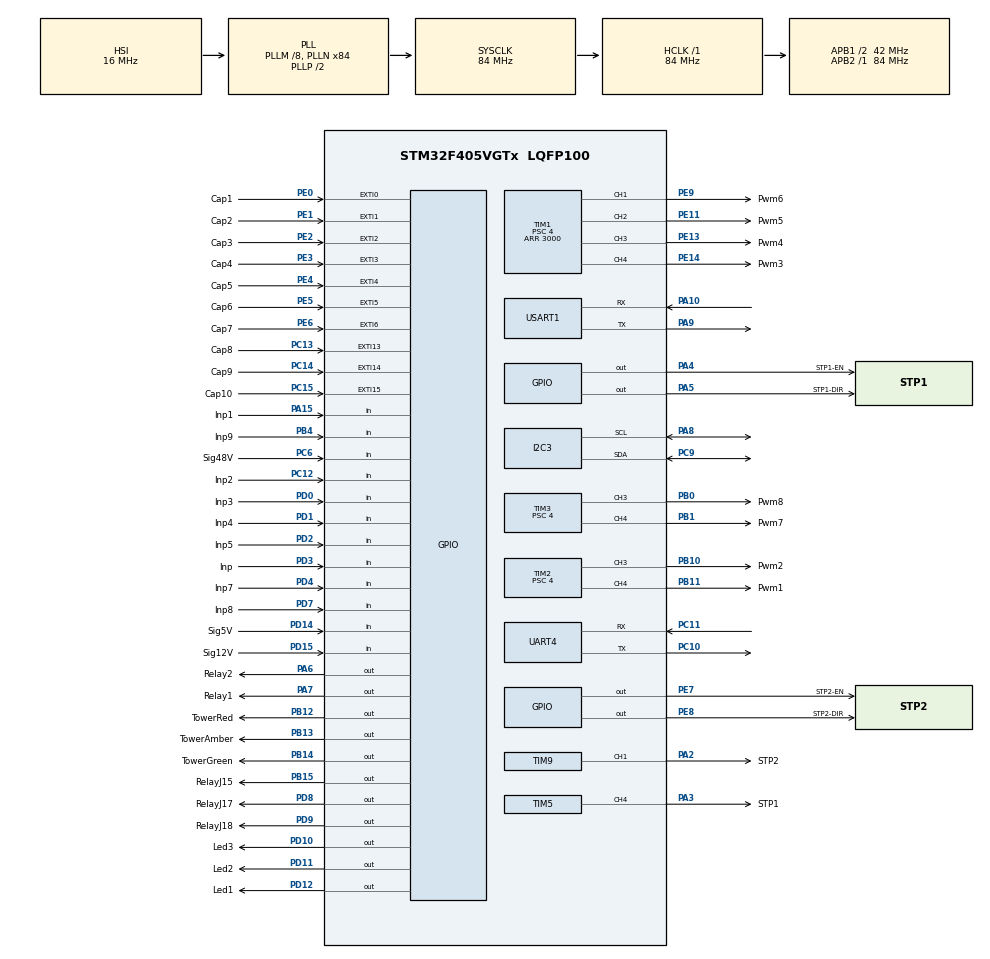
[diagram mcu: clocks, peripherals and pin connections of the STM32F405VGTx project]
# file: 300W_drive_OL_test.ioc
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Mcu.Family=STM32F4
Mcu.Name=STM32F405VGTx
Mcu.Package=LQFP100
NVIC.EXTI0_IRQn=true\:0\:0\:false\:false\:true\:true\:true\:true
NVIC.EXTI15_10_IRQn=true\:0\:0\:false\:false\:true\:true\:true\:true
NVIC.EXTI1_IRQn=true\:0\:0\:false\:false\:true\:true\:true\:true
NVIC.EXTI2_IRQn=true\:0\:0\:false\:false\:true\:true\:true\:true
NVIC.EXTI3_IRQn=true\:0\:0\:false\:false\:true\:true\:true\:true
NVIC.EXTI4_IRQn=true\:0\:0\:false\:false\:true\:true\:true\:true
NVIC.EXTI9_5_IRQn=true\:0\:0\:false\:false\:true\:true\:true\:true
NVIC.PriorityGroup=NVIC_PRIORITYGROUP_4
NVIC.TIM1_BRK_TIM9_IRQn=true\:0\:0\:false\:false\:true\:true\:true\:true
NVIC.TIM1_UP_TIM10_IRQn=true\:0\:0\:false\:false\:true\:true\:true\:true
NVIC.TIM5_IRQn=true\:0\:0\:false\:false\:true\:true\:true\:true
NVIC.TIM6_DAC_IRQn=true\:0\:0\:false\:false\:true\:true\:true\:true
NVIC.TIM7_IRQn=true\:0\:0\:false\:false\:true\:true\:true\:true
NVIC.UART4_IRQn=true\:0\:0\:false\:false\:true\:true\:true\:true
NVIC.USART1_IRQn=true\:0\:0\:false\:false\:true\:true\:true\:true
PA10.Mode=Asynchronous
PA10.Signal=USART1_RX
PA15.GPIO_Label=Inp1
PA15.Signal=GPIO_Input
PA2.GPIO_Label=STP2
PA2.Signal=S_TIM9_CH1
PA3.GPIO_Label=STP1
PA3.Signal=S_TIM5_CH4
PA4.GPIO_Label=STP1-EN
PA4.Signal=GPIO_Output
PA5.GPIO_Label=STP1-DIR
PA5.Signal=GPIO_Output
PA6.GPIO_Label=Relay2
PA6.Signal=GPIO_Output
PA7.GPIO_Label=Relay1
PA7.Signal=GPIO_Output
PA8.GPIO_Pu=GPIO_PULLUP
PA8.Mode=I2C
PA8.Signal=I2C3_SCL
PA9.Mode=Asynchronous
PA9.Signal=USART1_TX
PB0.GPIO_Label=Pwm8
PB0.Signal=S_TIM3_CH3
PB1.GPIO_Label=Pwm7
PB1.Signal=S_TIM3_CH4
PB10.GPIO_Label=Pwm2
PB10.Signal=S_TIM2_CH3
PB11.GPIO_Label=Pwm1
PB11.Signal=S_TIM2_CH4
PB12.GPIO_Label=TowerRed
PB12.Signal=GPIO_Output
PB13.GPIO_Label=TowerAmber
PB13.Signal=GPIO_Output
PB14.GPIO_Label=TowerGreen
PB14.Signal=GPIO_Output
PB15.GPIO_Label=RelayJ15
PB15.Signal=GPIO_Output
PB4.GPIO_Label=Inp9
PB4.Signal=GPIO_Input
PC10.Mode=Asynchronous
PC10.Signal=UART4_TX
PC11.Mode=Asynchronous
PC11.Signal=UART4_RX
PC12.GPIO_Label=Inp2
PC12.Signal=GPIO_Input
PC13-ANTI_TAMP.GPIO_Label=Cap8
PC13-ANTI_TAMP.GPIO_ModeDefaultEXTI=GPIO_MODE_IT_RISING_FALLING
PC13-ANTI_TAMP.GPIO_PuPd=GPIO_PULLUP
PC13-ANTI_TAMP.Signal=GPXTI13
PC14-OSC32_IN.GPIO_Label=Cap9
PC14-OSC32_IN.GPIO_ModeDefaultEXTI=GPIO_MODE_IT_RISING_FALLING
PC14-OSC32_IN.GPIO_PuPd=GPIO_PULLUP
PC14-OSC32_IN.Signal=GPXTI14
PC15-OSC32_OUT.GPIO_Label=Cap10
PC15-OSC32_OUT.GPIO_ModeDefaultEXTI=GPIO_MODE_IT_RISING_FALLING
PC15-OSC32_OUT.GPIO_PuPd=GPIO_PULLUP
PC15-OSC32_OUT.Signal=GPXTI15
PC6.GPIO_Label=Sig48V
PC6.Signal=GPIO_Input
PC9.GPIO_Pu=GPIO_PULLUP
PC9.Mode=I2C
PC9.Signal=I2C3_SDA
PD0.GPIO_Label=Inp3
PD0.Signal=GPIO_Input
PD1.GPIO_Label=Inp4
PD1.Signal=GPIO_Input
PD10.GPIO_Label=Led3
PD10.Signal=GPIO_Output
PD11.GPIO_Label=Led2
PD11.Signal=GPIO_Output
PD12.GPIO_Label=Led1
PD12.Signal=GPIO_Output
PD14.GPIO_Label=Sig5V
PD14.Signal=GPIO_Input
PD15.GPIO_Label=Sig12V
PD15.Signal=GPIO_Input
PD2.GPIO_Label=Inp5
PD2.Signal=GPIO_Input
PD3.GPIO_Label=Inp
PD3.Signal=GPIO_Input
PD4.GPIO_Label=Inp7
PD4.Signal=GPIO_Input
PD7.GPIO_Label=Inp8
PD7.Signal=GPIO_Input
PD8.GPIO_Label=RelayJ17
PD8.Signal=GPIO_Output
PD9.GPIO_Label=RelayJ18
PD9.Signal=GPIO_Output
PE0.GPIO_Label=Cap1
PE0.GPIO_ModeDefaultEXTI=GPIO_MODE_IT_RISING_FALLING
PE0.GPIO_PuPd=GPIO_PULLUP
PE0.Signal=GPXTI0
PE1.GPIO_Label=Cap2
PE1.GPIO_ModeDefaultEXTI=GPIO_MODE_IT_RISING_FALLING
PE1.GPIO_PuPd=GPIO_PULLUP
PE1.Signal=GPXTI1
PE11.GPIO_Label=Pwm5
PE11.Signal=S_TIM1_CH2
PE13.GPIO_Label=Pwm4
PE13.Signal=S_TIM1_CH3
PE14.GPIO_Label=Pwm3
PE14.Signal=S_TIM1_CH4
PE2.GPIO_Label=Cap3
PE2.GPIO_ModeDefaultEXTI=GPIO_MODE_IT_RISING_FALLING
PE2.GPIO_PuPd=GPIO_PULLUP
PE2.Signal=GPXTI2
PE3.GPIO_Label=Cap4
PE3.GPIO_ModeDefaultEXTI=GPIO_MODE_IT_RISING_FALLING
PE3.GPIO_PuPd=GPIO_PULLUP
PE3.Signal=GPXTI3
PE4.GPIO_Label=Cap5
PE4.GPIO_ModeDefaultEXTI=GPIO_MODE_IT_RISING_FALLING
PE4.GPIO_PuPd=GPIO_PULLUP
PE4.Signal=GPXTI4
PE5.GPIO_Label=Cap6
PE5.GPIO_ModeDefaultEXTI=GPIO_MODE_IT_RISING_FALLING
PE5.GPIO_PuPd=GPIO_PULLUP
PE5.Signal=GPXTI5
PE6.GPIO_Label=Cap7
PE6.GPIO_ModeDefaultEXTI=GPIO_MODE_IT_RISING_FALLING
PE6.GPIO_PuPd=GPIO_PULLUP
PE6.Signal=GPXTI6
PE7.GPIO_Label=STP2-EN
PE7.Signal=GPIO_Output
PE8.GPIO_Label=STP2-DIR
PE8.Signal=GPIO_Output
PE9.GPIO_Label=Pwm6
PE9.Signal=S_TIM1_CH1
ProjectManager.HeapSize=0x200
ProjectManager.StackSize=0x400
ProjectManager.TargetToolchain=STM32CubeIDE
RCC.48MHZClocksFreq_Value=42000000
RCC.AHBFreq_Value=84000000
RCC.APB1CLKDivider=RCC_HCLK_DIV2
RCC.APB1Freq_Value=42000000
RCC.APB1TimFreq_Value=84000000
RCC.APB2Freq_Value=84000000
RCC.APB2TimFreq_Value=84000000
RCC.CortexFreq_Value=84000000
RCC.HCLKFreq_Value=84000000
RCC.HSE_VALUE=25000000
RCC.HSI_VALUE=16000000
RCC.LSE_VALUE=32768
RCC.PLLM=8
RCC.PLLN=84
RCC.SYSCLKFreq_VALUE=84000000
RCC.SYSCLKSource=RCC_SYSCLKSOURCE_PLLCLK
RCC.VCOOutputFreq_Value=168000000
SH.S_TIM1_CH1.0=TIM1_CH1,PWM Generation1 CH1
SH.S_TIM1_CH2.0=TIM1_CH2,PWM Generation2 CH2
SH.S_TIM1_CH3.0=TIM1_CH3,PWM Generation3 CH3
SH.S_TIM1_CH4.0=TIM1_CH4,PWM Generation4 CH4
SH.S_TIM2_CH3.0=TIM2_CH3,PWM Generation3 CH3
SH.S_TIM2_CH4.0=TIM2_CH4,PWM Generation4 CH4
SH.S_TIM3_CH3.0=TIM3_CH3,PWM Generation3 CH3
SH.S_TIM3_CH4.0=TIM3_CH4,PWM Generation4 CH4
SH.S_TIM5_CH4.0=TIM5_CH4,PWM Generation4 CH4
SH.S_TIM9_CH1.0=TIM9_CH1,PWM Generation1 CH1
TIM1.Channel-PWM\ Generation1\ CH1=TIM_CHANNEL_1
TIM1.Channel-PWM\ Generation2\ CH2=TIM_CHANNEL_2
TIM1.Channel-PWM\ Generation3\ CH3=TIM_CHANNEL_3
TIM1.Channel-PWM\ Generation4\ CH4=TIM_CHANNEL_4
TIM1.OCPolarity_1=TIM_OCPOLARITY_HIGH
TIM1.OCPolarity_2=TIM_OCPOLARITY_HIGH
TIM1.OCPolarity_3=TIM_OCPOLARITY_HIGH
TIM1.OCPolarity_4=TIM_OCPOLARITY_HIGH
TIM1.Period=3000
TIM1.Prescaler=4
TIM10.Period=335
TIM10.Prescaler=499
TIM2.Channel-PWM\ Generation3\ CH3=TIM_CHANNEL_3
TIM2.Channel-PWM\ Generation4\ CH4=TIM_CHANNEL_4
TIM2.OCPolarity_3=TIM_OCPOLARITY_HIGH
TIM2.OCPolarity_4=TIM_OCPOLARITY_HIGH
TIM2.Period=3000
TIM2.Prescaler=4
TIM3.Channel-PWM\ Generation3\ CH3=TIM_CHANNEL_3
TIM3.Channel-PWM\ Generation4\ CH4=TIM_CHANNEL_4
TIM3.OCPolarity_3=TIM_OCPOLARITY_HIGH
TIM3.OCPolarity_4=TIM_OCPOLARITY_HIGH
TIM3.Period=3000
TIM3.Prescaler=4
TIM5.Channel-PWM\ Generation4\ CH4=TIM_CHANNEL_4
TIM5.Period=99
TIM5.Prescaler=839
TIM5.TIM_MasterSlaveMode=TIM_MASTERSLAVEMODE_ENABLE
TIM6.Period=839
TIM6.Prescaler=9999
TIM7.Period=8399
TIM7.Prescaler=9999
TIM9.Channel-PWM\ Generation1\ CH1=TIM_CHANNEL_1
TIM9.Period=249
TIM9.Prescaler=8399
UART4.VirtualMode=Asynchronous
USART1.VirtualMode=VM_ASYNC
VP_TIM10_VS_ClockSourceINT.Mode=Enable_Timer
VP_TIM6_VS_ClockSourceINT.Mode=Enable_Timer
VP_TIM7_VS_ClockSourceINT.Mode=Enable_Timer
board=FLYERFRAME

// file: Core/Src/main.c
/* USER CODE BEGIN Header */
/**
  ******************************************************************************
  * @file           : main.c
  * @brief          : Main program body
  ******************************************************************************
  * @attention
  *
  * Copyright (c) 2022 STMicroelectronics.
  * All rights reserved.
  *
  * This software is licensed under terms that can be found in the LICENSE file
  * in the root directory of this software component.
  * If no LICENSE file comes with this software, it is provided AS-IS.
  *
  ******************************************************************************
  */
/* USER CODE END Header */
#include "main.h"

/* USER CODE BEGIN Includes */
#include "stm32f4xx_hal.h"
#include "utilFns.h"
/* USER CODE END Includes */

I2C_HandleTypeDef hi2c3;

TIM_HandleTypeDef htim1;
TIM_HandleTypeDef htim2;
TIM_HandleTypeDef htim3;
TIM_HandleTypeDef htim5;
TIM_HandleTypeDef htim6;
TIM_HandleTypeDef htim7;
TIM_HandleTypeDef htim9;
TIM_HandleTypeDef htim10;

UART_HandleTypeDef huart4;
UART_HandleTypeDef huart1;

void SystemClock_Config(void);
static void MX_GPIO_Init(void);
static void MX_TIM1_Init(void);
static void MX_TIM2_Init(void);
static void MX_TIM3_Init(void);
static void MX_TIM6_Init(void);
static void MX_TIM7_Init(void);
static void MX_USART1_UART_Init(void);
static void MX_I2C3_Init(void);
static void MX_UART4_Init(void);
static void MX_TIM5_Init(void);
static void MX_TIM10_Init(void);
static void MX_TIM9_Init(void);

/* USER CODE BEGIN 0 */
uint8_t count = 0;
uint8_t mode1 = 0;
uint8_t mode2 = 0;

uint8_t runTime = 0;
uint8_t section = 0;
uint8_t blinkTime = 0;

uint8_t dbg_EnPin =0;

float M1_delta_percentageInc=0;
float M1_delta_percentageDec=0;
float M2_delta_percentageInc=0;

float currentPercentage = 0;
float endPercentage;
float startPercentage = 0;
float dtPercentageInc;
float dtPercentageDec;

uint8_t incrementPWM = 0;
uint8_t decreasePWM = 0;
uint16_t PWM_val = 0;
uint16_t finaltacCnt = 0;

extern uint16_t tacCnt;
uint16_t rpm=0;
uint8_t apply = 0;

uint16_t Avgidx = 0;
uint16_t avgTac = 0;
uint32_t sumTacCnt = 0;
uint8_t averagingStarted =0;

//HAL_TIM_Base_Start_IT(&htim6);
//HAL_TIM_PWM_Start(&htim2,TIM_CHANNEL_4);
//HAL_TIM_PWM_Stop(&htim2,TIM_CHANNEL_4);
//__HAL_TIM_SetCompare(&htim2, TIM_CHANNEL_4,M[MOTOR1].pwm);

void HAL_TIM_PeriodElapsedCallback(TIM_HandleTypeDef *htim)
{
	if (htim->Instance==TIM7) // TIM7 is a 1 sec timer
	{
		if ((mode1 == STATE_RUN)||(mode2 == STATE_RUN)){

			if (section == STOP){
				if (runTime == STOP_DELAY_TIME){
					section = OFF;
					mode1 = STATE_IDLE;
					runTime = 0;
					HAL_GPIO_WritePin(GPIOD,Led1_Pin,GPIO_PIN_RESET);
				}
			}

			if (section == DECREASE_PWM){
				decreasePWM = 1;
			}

			if (section == PK_PWM_WAIT){
				// only mode1 goes to decrease PWM. mode remains at this PWM for fault tests.
				if (mode1 == STATE_RUN){
					if (runTime == PK_PWM_WAIT_TIME){
						section = DECREASE_PWM;
						runTime = 0;
					}
				}
			}

			if (section == INCREASE_PWM){
				incrementPWM = 1;
			}

			if (section == START){
				if (runTime == START_DELAY_TIME){
					//Enable PWM
					if (mode1 == STATE_RUN){
						startPercentage = M1_INC_START_PERCENTAGE;
						endPercentage = M1_INC_END_PERCENTAGE;
						dtPercentageInc = M1_delta_percentageInc;
						dtPercentageDec = M1_delta_percentageDec;
					}
					if (mode2 == STATE_RUN){
						startPercentage = M2_INC_START_PERCENTAGE;
						endPercentage = M2_INC_END_PERCENTAGE;
						dtPercentageInc = M2_delta_percentageInc;
						dtPercentageDec = 0;
					}
					HAL_TIM_PWM_Start(&htim2,TIM_CHANNEL_4);
					currentPercentage = startPercentage;
					PWM_val = currentPercentage*30;
					__HAL_TIM_SetCompare(&htim2, TIM_CHANNEL_4,PWM_val);

					section = INCREASE_PWM;
					blinkTime = 0;
					runTime = 0;
				}
			}

			runTime ++;
		} //closes MODE1

	}

	if (htim->Instance==TIM6) // TIM6 is a 0.1 sec timer
		{

			if ((Avgidx < 10) && (averagingStarted == 0)){
					avgTac = tacCnt;
					sumTacCnt += tacCnt;
					averagingStarted = 1;
				}else{
					sumTacCnt = sumTacCnt - avgTac + tacCnt;
					avgTac = sumTacCnt/10;
				}
			Avgidx ++;

			rpm = (uint16_t)(avgTac*0.781); // ((tacCnt * 10)/48) * 60  ; 12.5- .48 ppr
			finaltacCnt = avgTac;
			tacCnt = 0;

			if (incrementPWM){
				if (currentPercentage < endPercentage){
					currentPercentage += dtPercentageInc;
					if (currentPercentage >= endPercentage){
						currentPercentage = endPercentage;
						section = PK_PWM_WAIT;
						incrementPWM = 0;
						runTime = 0;
					}
				}
				PWM_val = (uint16_t)(currentPercentage*30); //setPWM
				__HAL_TIM_SetCompare(&htim2, TIM_CHANNEL_4,PWM_val);
			}

			if (decreasePWM){
				if (currentPercentage > M1_INC_START_PERCENTAGE){
					currentPercentage -= dtPercentageDec;
					if (currentPercentage <= M1_INC_START_PERCENTAGE){
						currentPercentage = M1_INC_START_PERCENTAGE;
						section = STOP;
						decreasePWM = 0;
						runTime = 0;
						blinkTime = 0;
						HAL_TIM_PWM_Stop(&htim2,TIM_CHANNEL_4);//OFF PWM
					}
				}
				PWM_val = (uint16_t)(currentPercentage*30); //setPWM
				//setPWM
				__HAL_TIM_SetCompare(&htim2, TIM_CHANNEL_4,PWM_val);
			}

			// Blink Code
			if ((mode1 == STATE_RUN)||(mode2==STATE_RUN)){
				if ((section == START)||(section==STOP)){
					if (blinkTime%10 == 0){ // led blink at 0.5Hz
						HAL_GPIO_TogglePin(GPIOD,Led3_Pin);
					}
				}
				else{
					if (blinkTime%5 == 0){ // led blink at 1Hz
						HAL_GPIO_TogglePin(GPIOD,Led3_Pin);
					}
				}
			blinkTime++;
			}
		}

	/*if (htim->Instance==TIM9) // TIM6 is a 0.1 sec timer
		{
*/

}

/* USER CODE END 0 */

int main(void)
{

  /* MCU Configuration--------------------------------------------------------*/

  /* Reset of all peripherals, Initializes the Flash interface and the Systick. */
  HAL_Init();

  /* Configure the system clock */
  SystemClock_Config();

  /* Initialize all configured peripherals */
  MX_GPIO_Init();
  MX_TIM1_Init();
  MX_TIM2_Init();
  MX_TIM3_Init();
  MX_TIM6_Init();
  MX_TIM7_Init();
  MX_USART1_UART_Init();
  MX_I2C3_Init();
  MX_UART4_Init();
  MX_TIM5_Init();
  MX_TIM10_Init();
  MX_TIM9_Init();
  /* USER CODE BEGIN 2 */
  //CK SPEED - 84Mhz
  //Timer1,2,3 -> for PWM -> 5600Hz , PSC 4 ,ARR 3000
  //Timer 5 -> PSC 839, ARR 99 -> 1000Hz , 1 msec Interrupt
  //Timer 6 -> PSC 9999, ARR 839 -> 10Hz , 0.1 sec Interrupt
  //Timer 7 -> PSC 9999, ARR 8399 -> 1Hz ,1 sec interrupt
  //Timer 9 -> PSC 8399, ARR 249 -> 40Hz, 25ms interrupt
  //Timer 10-> PSC 499, ARR 335 -> 500Hz  , 20mS Interrupt

  HAL_TIM_Base_Start_IT(&htim7); // start the 1 sec timer
  HAL_TIM_Base_Start_IT(&htim6); // start the 0.1 sec timer, used for pwm increment
  HAL_TIM_Base_Start_IT(&htim2); // start the PWM timer, but not PWM

  //HAL_TIM_PWM_Start(&htim2,TIM_CHANNEL_4);
  //__HAL_TIM_SetCompare(&htim2, TIM_CHANNEL_4,0);

  M1_delta_percentageInc = (float)(M1_INC_END_PERCENTAGE - M1_INC_START_PERCENTAGE)/(M1_PWM_INCREASE_TIME*10);
  M1_delta_percentageDec = (float)(M1_INC_END_PERCENTAGE - M1_INC_START_PERCENTAGE)/(M1_PWM_DECREASE_TIME*10);
  M2_delta_percentageInc = (float)(M2_INC_END_PERCENTAGE - M2_INC_START_PERCENTAGE)/(M2_PWM_INCREASE_TIME*10);

  /* USER CODE END 2 */

  /* Infinite loop */
  /* USER CODE BEGIN WHILE */
  while (1)
  {

	// Get button press
	// start PWM1 and increment in 20sec to 100%. wait ten sec. Bring PWM down to 0%. Wait 5 sec.
	// Again start PWM but at an nonZero no, say 15%, increment to 80% and wait till again button press or switch off.
	// second run should signal different direction, and expected RPM is only 65% (80-15) of what it was in the
	// first run.

	char key1 = Read_inp1Pin();
	char key2 = Read_inp2Pin();

	if (dbg_EnPin){
		HAL_GPIO_TogglePin(GPIOB,RelayJ15_Pin);
		HAL_Delay(10000);
	}

	if (key1){
		//start PWM1 and increment to 100%, wait, bring PWM down to 0
		count += 1;
		if ((mode1 == STATE_IDLE)&&(mode2==STATE_IDLE)){
			mode1 = STATE_RUN;
			section = START;
			runTime = 0;
			blinkTime = 0;

			Avgidx = 0;
			avgTac = 0;
			sumTacCnt = 0;
			averagingStarted =0;
			MotorDrive(ENABLE_D);
			HAL_GPIO_WritePin(GPIOD,Led1_Pin,GPIO_PIN_SET);
		}else{
			if ((mode1 == STATE_RUN ) && (section != START)){
				mode1 = STATE_IDLE;
				section = OFF;
				incrementPWM = 0;
				decreasePWM = 0;
				currentPercentage = 0;
				__HAL_TIM_SetCompare(&htim2, TIM_CHANNEL_4,0);
				MotorDrive(DISABLE_D);
				HAL_TIM_PWM_Stop(&htim2,TIM_CHANNEL_4);
				HAL_GPIO_WritePin(GPIOD,Led1_Pin,GPIO_PIN_RESET);
				HAL_Delay(3000);
			}
		}
	}

	//CHANGE DIRECTION ON BOARD
	//start PWM1 at 15% and increment to 85%, and wait for 100 sec
	if (key2){
		count -= 1;
		if ((mode2 == STATE_IDLE)&&(mode1 == STATE_IDLE)){
			mode2 = STATE_RUN;
			section = START;
			runTime = 0;
			blinkTime = 0;

			Avgidx = 0;
			avgTac = 0;
			sumTacCnt = 0;
			averagingStarted = 0;
			MotorDrive(ENABLE_D);
			HAL_GPIO_WritePin(GPIOD,Led2_Pin,GPIO_PIN_SET);
		}else{
			if ((mode2 == STATE_RUN ) && (section != START)){
				mode2 = STATE_IDLE;
				section = OFF;
				incrementPWM = 0;
				decreasePWM = 0;
				currentPercentage = 0;
				__HAL_TIM_SetCompare(&htim2, TIM_CHANNEL_4,0);
				MotorDrive(DISABLE_D);
				HAL_TIM_PWM_Stop(&htim2,TIM_CHANNEL_4);
				HAL_GPIO_WritePin(GPIOD,Led2_Pin,GPIO_PIN_RESET);
				HAL_Delay(3000);
			}
		}

	}
	/*
	if (apply){
		PWM_val = (uint16_t)(currentPercentage*30); //setPWM
		__HAL_TIM_SetCompare(&htim2, TIM_CHANNEL_4,PWM_val);
		apply = 0;
	}*/

    /* USER CODE END WHILE */

  }
}

void SystemClock_Config(void)
{
  RCC_OscInitTypeDef RCC_OscInitStruct = {0};
  RCC_ClkInitTypeDef RCC_ClkInitStruct = {0};

  /** Configure the main internal regulator output voltage
  */
  __HAL_RCC_PWR_CLK_ENABLE();
  __HAL_PWR_VOLTAGESCALING_CONFIG(PWR_REGULATOR_VOLTAGE_SCALE1);

  /** Initializes the RCC Oscillators according to the specified parameters
  * in the RCC_OscInitTypeDef structure.
  */
  RCC_OscInitStruct.OscillatorType = RCC_OSCILLATORTYPE_HSI;
  RCC_OscInitStruct.HSIState = RCC_HSI_ON;
  RCC_OscInitStruct.HSICalibrationValue = RCC_HSICALIBRATION_DEFAULT;
  RCC_OscInitStruct.PLL.PLLState = RCC_PLL_ON;
  RCC_OscInitStruct.PLL.PLLSource = RCC_PLLSOURCE_HSI;
  RCC_OscInitStruct.PLL.PLLM = 8;
  RCC_OscInitStruct.PLL.PLLN = 84;
  RCC_OscInitStruct.PLL.PLLP = RCC_PLLP_DIV2;
  RCC_OscInitStruct.PLL.PLLQ = 4;
  if (HAL_RCC_OscConfig(&RCC_OscInitStruct) != HAL_OK)
  {
    Error_Handler();
  }

  /** Initializes the CPU, AHB and APB buses clocks
  */
  RCC_ClkInitStruct.ClockType = RCC_CLOCKTYPE_HCLK|RCC_CLOCKTYPE_SYSCLK
                              |RCC_CLOCKTYPE_PCLK1|RCC_CLOCKTYPE_PCLK2;
  RCC_ClkInitStruct.SYSCLKSource = RCC_SYSCLKSOURCE_PLLCLK;
  RCC_ClkInitStruct.AHBCLKDivider = RCC_SYSCLK_DIV1;
  RCC_ClkInitStruct.APB1CLKDivider = RCC_HCLK_DIV2;
  RCC_ClkInitStruct.APB2CLKDivider = RCC_HCLK_DIV1;

  if (HAL_RCC_ClockConfig(&RCC_ClkInitStruct, FLASH_LATENCY_2) != HAL_OK)
  {
    Error_Handler();
  }
}

static void MX_I2C3_Init(void)
{

  hi2c3.Instance = I2C3;
  hi2c3.Init.ClockSpeed = 100000;
  hi2c3.Init.DutyCycle = I2C_DUTYCYCLE_2;
  hi2c3.Init.OwnAddress1 = 0;
  hi2c3.Init.AddressingMode = I2C_ADDRESSINGMODE_7BIT;
  hi2c3.Init.DualAddressMode = I2C_DUALADDRESS_DISABLE;
  hi2c3.Init.OwnAddress2 = 0;
  hi2c3.Init.GeneralCallMode = I2C_GENERALCALL_DISABLE;
  hi2c3.Init.NoStretchMode = I2C_NOSTRETCH_DISABLE;
  if (HAL_I2C_Init(&hi2c3) != HAL_OK)
  {
    Error_Handler();
  }

}

static void MX_TIM1_Init(void)
{

  TIM_MasterConfigTypeDef sMasterConfig = {0};
  TIM_OC_InitTypeDef sConfigOC = {0};
  TIM_BreakDeadTimeConfigTypeDef sBreakDeadTimeConfig = {0};

  htim1.Instance = TIM1;
  htim1.Init.Prescaler = 4;
  htim1.Init.CounterMode = TIM_COUNTERMODE_UP;
  htim1.Init.Period = 3000;
  htim1.Init.ClockDivision = TIM_CLOCKDIVISION_DIV1;
  htim1.Init.RepetitionCounter = 0;
  htim1.Init.AutoReloadPreload = TIM_AUTORELOAD_PRELOAD_DISABLE;
  if (HAL_TIM_PWM_Init(&htim1) != HAL_OK)
  {
    Error_Handler();
  }
  sMasterConfig.MasterOutputTrigger = TIM_TRGO_RESET;
  sMasterConfig.MasterSlaveMode = TIM_MASTERSLAVEMODE_DISABLE;
  if (HAL_TIMEx_MasterConfigSynchronization(&htim1, &sMasterConfig) != HAL_OK)
  {
    Error_Handler();
  }
  sConfigOC.OCMode = TIM_OCMODE_PWM1;
  sConfigOC.Pulse = 0;
  sConfigOC.OCPolarity = TIM_OCPOLARITY_HIGH;
  sConfigOC.OCNPolarity = TIM_OCNPOLARITY_HIGH;
  sConfigOC.OCFastMode = TIM_OCFAST_DISABLE;
  sConfigOC.OCIdleState = TIM_OCIDLESTATE_RESET;
  sConfigOC.OCNIdleState = TIM_OCNIDLESTATE_RESET;
  if (HAL_TIM_PWM_ConfigChannel(&htim1, &sConfigOC, TIM_CHANNEL_1) != HAL_OK)
  {
    Error_Handler();
  }
  if (HAL_TIM_PWM_ConfigChannel(&htim1, &sConfigOC, TIM_CHANNEL_2) != HAL_OK)
  {
    Error_Handler();
  }
  if (HAL_TIM_PWM_ConfigChannel(&htim1, &sConfigOC, TIM_CHANNEL_3) != HAL_OK)
  {
    Error_Handler();
  }
  if (HAL_TIM_PWM_ConfigChannel(&htim1, &sConfigOC, TIM_CHANNEL_4) != HAL_OK)
  {
    Error_Handler();
  }
  sBreakDeadTimeConfig.OffStateRunMode = TIM_OSSR_DISABLE;
  sBreakDeadTimeConfig.OffStateIDLEMode = TIM_OSSI_DISABLE;
  sBreakDeadTimeConfig.LockLevel = TIM_LOCKLEVEL_OFF;
  sBreakDeadTimeConfig.DeadTime = 0;
  sBreakDeadTimeConfig.BreakState = TIM_BREAK_DISABLE;
  sBreakDeadTimeConfig.BreakPolarity = TIM_BREAKPOLARITY_HIGH;
  sBreakDeadTimeConfig.AutomaticOutput = TIM_AUTOMATICOUTPUT_DISABLE;
  if (HAL_TIMEx_ConfigBreakDeadTime(&htim1, &sBreakDeadTimeConfig) != HAL_OK)
  {
    Error_Handler();
  }
  HAL_TIM_MspPostInit(&htim1);

}

static void MX_TIM2_Init(void)
{

  TIM_MasterConfigTypeDef sMasterConfig = {0};
  TIM_OC_InitTypeDef sConfigOC = {0};

  htim2.Instance = TIM2;
  htim2.Init.Prescaler = 4;
  htim2.Init.CounterMode = TIM_COUNTERMODE_UP;
  htim2.Init.Period = 3000;
  htim2.Init.ClockDivision = TIM_CLOCKDIVISION_DIV1;
  htim2.Init.AutoReloadPreload = TIM_AUTORELOAD_PRELOAD_DISABLE;
  if (HAL_TIM_PWM_Init(&htim2) != HAL_OK)
  {
    Error_Handler();
  }
  sMasterConfig.MasterOutputTrigger = TIM_TRGO_RESET;
  sMasterConfig.MasterSlaveMode = TIM_MASTERSLAVEMODE_DISABLE;
  if (HAL_TIMEx_MasterConfigSynchronization(&htim2, &sMasterConfig) != HAL_OK)
  {
    Error_Handler();
  }
  sConfigOC.OCMode = TIM_OCMODE_PWM1;
  sConfigOC.Pulse = 0;
  sConfigOC.OCPolarity = TIM_OCPOLARITY_HIGH;
  sConfigOC.OCFastMode = TIM_OCFAST_DISABLE;
  if (HAL_TIM_PWM_ConfigChannel(&htim2, &sConfigOC, TIM_CHANNEL_3) != HAL_OK)
  {
    Error_Handler();
  }
  if (HAL_TIM_PWM_ConfigChannel(&htim2, &sConfigOC, TIM_CHANNEL_4) != HAL_OK)
  {
    Error_Handler();
  }
  HAL_TIM_MspPostInit(&htim2);

}

static void MX_TIM3_Init(void)
{

  TIM_MasterConfigTypeDef sMasterConfig = {0};
  TIM_OC_InitTypeDef sConfigOC = {0};

  htim3.Instance = TIM3;
  htim3.Init.Prescaler = 4;
  htim3.Init.CounterMode = TIM_COUNTERMODE_UP;
  htim3.Init.Period = 3000;
  htim3.Init.ClockDivision = TIM_CLOCKDIVISION_DIV1;
  htim3.Init.AutoReloadPreload = TIM_AUTORELOAD_PRELOAD_DISABLE;
  if (HAL_TIM_PWM_Init(&htim3) != HAL_OK)
  {
    Error_Handler();
  }
  sMasterConfig.MasterOutputTrigger = TIM_TRGO_RESET;
  sMasterConfig.MasterSlaveMode = TIM_MASTERSLAVEMODE_DISABLE;
  if (HAL_TIMEx_MasterConfigSynchronization(&htim3, &sMasterConfig) != HAL_OK)
  {
    Error_Handler();
  }
  sConfigOC.OCMode = TIM_OCMODE_PWM1;
  sConfigOC.Pulse = 0;
  sConfigOC.OCPolarity = TIM_OCPOLARITY_HIGH;
  sConfigOC.OCFastMode = TIM_OCFAST_DISABLE;
  if (HAL_TIM_PWM_ConfigChannel(&htim3, &sConfigOC, TIM_CHANNEL_3) != HAL_OK)
  {
    Error_Handler();
  }
  if (HAL_TIM_PWM_ConfigChannel(&htim3, &sConfigOC, TIM_CHANNEL_4) != HAL_OK)
  {
    Error_Handler();
  }
  HAL_TIM_MspPostInit(&htim3);

}

static void MX_TIM5_Init(void)
{

  TIM_MasterConfigTypeDef sMasterConfig = {0};
  TIM_OC_InitTypeDef sConfigOC = {0};

  htim5.Instance = TIM5;
  htim5.Init.Prescaler = 839;
  htim5.Init.CounterMode = TIM_COUNTERMODE_UP;
  htim5.Init.Period = 99;
  htim5.Init.ClockDivision = TIM_CLOCKDIVISION_DIV1;
  htim5.Init.AutoReloadPreload = TIM_AUTORELOAD_PRELOAD_DISABLE;
  if (HAL_TIM_PWM_Init(&htim5) != HAL_OK)
  {
    Error_Handler();
  }
  sMasterConfig.MasterOutputTrigger = TIM_TRGO_RESET;
  sMasterConfig.MasterSlaveMode = TIM_MASTERSLAVEMODE_ENABLE;
  if (HAL_TIMEx_MasterConfigSynchronization(&htim5, &sMasterConfig) != HAL_OK)
  {
    Error_Handler();
  }
  sConfigOC.OCMode = TIM_OCMODE_PWM1;
  sConfigOC.Pulse = 0;
  sConfigOC.OCPolarity = TIM_OCPOLARITY_HIGH;
  sConfigOC.OCFastMode = TIM_OCFAST_DISABLE;
  if (HAL_TIM_PWM_ConfigChannel(&htim5, &sConfigOC, TIM_CHANNEL_4) != HAL_OK)
  {
    Error_Handler();
  }
  HAL_TIM_MspPostInit(&htim5);

}

static void MX_TIM6_Init(void)
{

  TIM_MasterConfigTypeDef sMasterConfig = {0};

  htim6.Instance = TIM6;
  htim6.Init.Prescaler = 9999;
  htim6.Init.CounterMode = TIM_COUNTERMODE_UP;
  htim6.Init.Period = 839;
  htim6.Init.AutoReloadPreload = TIM_AUTORELOAD_PRELOAD_DISABLE;
  if (HAL_TIM_Base_Init(&htim6) != HAL_OK)
  {
    Error_Handler();
  }
  sMasterConfig.MasterOutputTrigger = TIM_TRGO_RESET;
  sMasterConfig.MasterSlaveMode = TIM_MASTERSLAVEMODE_DISABLE;
  if (HAL_TIMEx_MasterConfigSynchronization(&htim6, &sMasterConfig) != HAL_OK)
  {
    Error_Handler();
  }

}

static void MX_TIM7_Init(void)
{

  TIM_MasterConfigTypeDef sMasterConfig = {0};

  htim7.Instance = TIM7;
  htim7.Init.Prescaler = 9999;
  htim7.Init.CounterMode = TIM_COUNTERMODE_UP;
  htim7.Init.Period = 8399;
  htim7.Init.AutoReloadPreload = TIM_AUTORELOAD_PRELOAD_DISABLE;
  if (HAL_TIM_Base_Init(&htim7) != HAL_OK)
  {
    Error_Handler();
  }
  sMasterConfig.MasterOutputTrigger = TIM_TRGO_RESET;
  sMasterConfig.MasterSlaveMode = TIM_MASTERSLAVEMODE_DISABLE;
  if (HAL_TIMEx_MasterConfigSynchronization(&htim7, &sMasterConfig) != HAL_OK)
  {
    Error_Handler();
  }

}

static void MX_TIM9_Init(void)
{

  TIM_OC_InitTypeDef sConfigOC = {0};

  htim9.Instance = TIM9;
  htim9.Init.Prescaler = 8399;
  htim9.Init.CounterMode = TIM_COUNTERMODE_UP;
  htim9.Init.Period = 249;
  htim9.Init.ClockDivision = TIM_CLOCKDIVISION_DIV1;
  htim9.Init.AutoReloadPreload = TIM_AUTORELOAD_PRELOAD_DISABLE;
  if (HAL_TIM_PWM_Init(&htim9) != HAL_OK)
  {
    Error_Handler();
  }
  sConfigOC.OCMode = TIM_OCMODE_PWM1;
  sConfigOC.Pulse = 0;
  sConfigOC.OCPolarity = TIM_OCPOLARITY_HIGH;
  sConfigOC.OCFastMode = TIM_OCFAST_DISABLE;
  if (HAL_TIM_PWM_ConfigChannel(&htim9, &sConfigOC, TIM_CHANNEL_1) != HAL_OK)
  {
    Error_Handler();
  }
  HAL_TIM_MspPostInit(&htim9);

}

static void MX_TIM10_Init(void)
{

  htim10.Instance = TIM10;
  htim10.Init.Prescaler = 499;
  htim10.Init.CounterMode = TIM_COUNTERMODE_UP;
  htim10.Init.Period = 335;
  htim10.Init.ClockDivision = TIM_CLOCKDIVISION_DIV1;
  htim10.Init.AutoReloadPreload = TIM_AUTORELOAD_PRELOAD_DISABLE;
  if (HAL_TIM_Base_Init(&htim10) != HAL_OK)
  {
    Error_Handler();
  }

}

static void MX_UART4_Init(void)
{

  huart4.Instance = UART4;
  huart4.Init.BaudRate = 115200;
  huart4.Init.WordLength = UART_WORDLENGTH_8B;
  huart4.Init.StopBits = UART_STOPBITS_1;
  huart4.Init.Parity = UART_PARITY_NONE;
  huart4.Init.Mode = UART_MODE_TX_RX;
  huart4.Init.HwFlowCtl = UART_HWCONTROL_NONE;
  huart4.Init.OverSampling = UART_OVERSAMPLING_16;
  if (HAL_UART_Init(&huart4) != HAL_OK)
  {
    Error_Handler();
  }

}

static void MX_USART1_UART_Init(void)
{

  huart1.Instance = USART1;
  huart1.Init.BaudRate = 115200;
  huart1.Init.WordLength = UART_WORDLENGTH_8B;
  huart1.Init.StopBits = UART_STOPBITS_1;
  huart1.Init.Parity = UART_PARITY_NONE;
  huart1.Init.Mode = UART_MODE_TX_RX;
  huart1.Init.HwFlowCtl = UART_HWCONTROL_NONE;
  huart1.Init.OverSampling = UART_OVERSAMPLING_16;
  if (HAL_UART_Init(&huart1) != HAL_OK)
  {
    Error_Handler();
  }

}

static void MX_GPIO_Init(void)
{
  GPIO_InitTypeDef GPIO_InitStruct = {0};

  /* GPIO Ports Clock Enable */
  __HAL_RCC_GPIOE_CLK_ENABLE();
  __HAL_RCC_GPIOC_CLK_ENABLE();
  __HAL_RCC_GPIOA_CLK_ENABLE();
  __HAL_RCC_GPIOB_CLK_ENABLE();
  __HAL_RCC_GPIOD_CLK_ENABLE();

  /*Configure GPIO pin Output Level */
  HAL_GPIO_WritePin(GPIOA, STP1_EN_Pin|STP1_DIR_Pin|Relay2_Pin|Relay1_Pin, GPIO_PIN_RESET);

  /*Configure GPIO pin Output Level */
  HAL_GPIO_WritePin(GPIOE, STP2_EN_Pin|STP2_DIR_Pin, GPIO_PIN_RESET);

  /*Configure GPIO pin Output Level */
  HAL_GPIO_WritePin(GPIOB, TowerRed_Pin|TowerAmber_Pin|TowerGreen_Pin|RelayJ15_Pin, GPIO_PIN_RESET);

  /*Configure GPIO pin Output Level */
  HAL_GPIO_WritePin(GPIOD, RelayJ17_Pin|RelayJ18_Pin|Led3_Pin|Led2_Pin
                          |Led1_Pin, GPIO_PIN_RESET);

  /*Configure GPIO pins : Cap3_Pin Cap4_Pin Cap5_Pin Cap6_Pin
                           Cap7_Pin Cap1_Pin Cap2_Pin */
  GPIO_InitStruct.Pin = Cap3_Pin|Cap4_Pin|Cap5_Pin|Cap6_Pin
                          |Cap7_Pin|Cap1_Pin|Cap2_Pin;
  GPIO_InitStruct.Mode = GPIO_MODE_IT_RISING_FALLING;
  GPIO_InitStruct.Pull = GPIO_PULLUP;
  HAL_GPIO_Init(GPIOE, &GPIO_InitStruct);

  /*Configure GPIO pins : Cap8_Pin Cap9_Pin Cap10_Pin */
  GPIO_InitStruct.Pin = Cap8_Pin|Cap9_Pin|Cap10_Pin;
  GPIO_InitStruct.Mode = GPIO_MODE_IT_RISING_FALLING;
  GPIO_InitStruct.Pull = GPIO_PULLUP;
  HAL_GPIO_Init(GPIOC, &GPIO_InitStruct);

  /*Configure GPIO pins : STP1_EN_Pin STP1_DIR_Pin Relay2_Pin Relay1_Pin */
  GPIO_InitStruct.Pin = STP1_EN_Pin|STP1_DIR_Pin|Relay2_Pin|Relay1_Pin;
  GPIO_InitStruct.Mode = GPIO_MODE_OUTPUT_PP;
  GPIO_InitStruct.Pull = GPIO_NOPULL;
  GPIO_InitStruct.Speed = GPIO_SPEED_FREQ_LOW;
  HAL_GPIO_Init(GPIOA, &GPIO_InitStruct);

  /*Configure GPIO pins : STP2_EN_Pin STP2_DIR_Pin */
  GPIO_InitStruct.Pin = STP2_EN_Pin|STP2_DIR_Pin;
  GPIO_InitStruct.Mode = GPIO_MODE_OUTPUT_PP;
  GPIO_InitStruct.Pull = GPIO_NOPULL;
  GPIO_InitStruct.Speed = GPIO_SPEED_FREQ_LOW;
  HAL_GPIO_Init(GPIOE, &GPIO_InitStruct);

  /*Configure GPIO pins : TowerRed_Pin TowerAmber_Pin TowerGreen_Pin RelayJ15_Pin */
  GPIO_InitStruct.Pin = TowerRed_Pin|TowerAmber_Pin|TowerGreen_Pin|RelayJ15_Pin;
  GPIO_InitStruct.Mode = GPIO_MODE_OUTPUT_PP;
  GPIO_InitStruct.Pull = GPIO_NOPULL;
  GPIO_InitStruct.Speed = GPIO_SPEED_FREQ_LOW;
  HAL_GPIO_Init(GPIOB, &GPIO_InitStruct);

  /*Configure GPIO pins : RelayJ17_Pin RelayJ18_Pin Led3_Pin Led2_Pin
                           Led1_Pin */
  GPIO_InitStruct.Pin = RelayJ17_Pin|RelayJ18_Pin|Led3_Pin|Led2_Pin
                          |Led1_Pin;
  GPIO_InitStruct.Mode = GPIO_MODE_OUTPUT_PP;
  GPIO_InitStruct.Pull = GPIO_NOPULL;
  GPIO_InitStruct.Speed = GPIO_SPEED_FREQ_LOW;
  HAL_GPIO_Init(GPIOD, &GPIO_InitStruct);

  /*Configure GPIO pins : Sig5V_Pin Sig12V_Pin Inp3_Pin Inp4_Pin
                           Inp5_Pin Inp_Pin Inp7_Pin Inp8_Pin */
  GPIO_InitStruct.Pin = Sig5V_Pin|Sig12V_Pin|Inp3_Pin|Inp4_Pin
                          |Inp5_Pin|Inp_Pin|Inp7_Pin|Inp8_Pin;
  GPIO_InitStruct.Mode = GPIO_MODE_INPUT;
  GPIO_InitStruct.Pull = GPIO_NOPULL;
  HAL_GPIO_Init(GPIOD, &GPIO_InitStruct);

  /*Configure GPIO pins : Sig48V_Pin Inp2_Pin */
  GPIO_InitStruct.Pin = Sig48V_Pin|Inp2_Pin;
  GPIO_InitStruct.Mode = GPIO_MODE_INPUT;
  GPIO_InitStruct.Pull = GPIO_NOPULL;
  HAL_GPIO_Init(GPIOC, &GPIO_InitStruct);

  /*Configure GPIO pin : Inp1_Pin */
  GPIO_InitStruct.Pin = Inp1_Pin;
  GPIO_InitStruct.Mode = GPIO_MODE_INPUT;
  GPIO_InitStruct.Pull = GPIO_NOPULL;
  HAL_GPIO_Init(Inp1_GPIO_Port, &GPIO_InitStruct);

  /*Configure GPIO pin : Inp9_Pin */
  GPIO_InitStruct.Pin = Inp9_Pin;
  GPIO_InitStruct.Mode = GPIO_MODE_INPUT;
  GPIO_InitStruct.Pull = GPIO_NOPULL;
  HAL_GPIO_Init(Inp9_GPIO_Port, &GPIO_InitStruct);

  /* EXTI interrupt init*/
  HAL_NVIC_SetPriority(EXTI0_IRQn, 0, 0);
  HAL_NVIC_EnableIRQ(EXTI0_IRQn);

  HAL_NVIC_SetPriority(EXTI1_IRQn, 0, 0);
  HAL_NVIC_EnableIRQ(EXTI1_IRQn);

  HAL_NVIC_SetPriority(EXTI2_IRQn, 0, 0);
  HAL_NVIC_EnableIRQ(EXTI2_IRQn);

  HAL_NVIC_SetPriority(EXTI3_IRQn, 0, 0);
  HAL_NVIC_EnableIRQ(EXTI3_IRQn);

  HAL_NVIC_SetPriority(EXTI4_IRQn, 0, 0);
  HAL_NVIC_EnableIRQ(EXTI4_IRQn);

  HAL_NVIC_SetPriority(EXTI9_5_IRQn, 0, 0);
  HAL_NVIC_EnableIRQ(EXTI9_5_IRQn);

  HAL_NVIC_SetPriority(EXTI15_10_IRQn, 0, 0);
  HAL_NVIC_EnableIRQ(EXTI15_10_IRQn);

}

void Error_Handler(void)
{
  __disable_irq();
  while (1)
  {
  }
}
